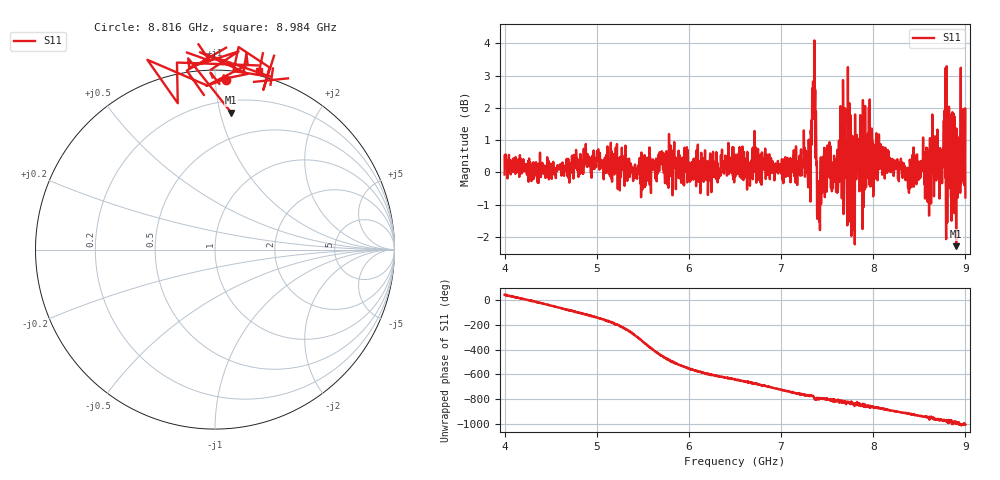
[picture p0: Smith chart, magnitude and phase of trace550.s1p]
! Created with skrf 1.8.0 (http://scikit-rf.org).
# Hz S RI R 50.0
!freq ReS11 ImS11
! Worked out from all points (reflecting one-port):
!   1601 points, 4 GHz to 9 GHz, reference 50 ohm
!   lowest |S11| = -2.3 dB at 8.9 GHz (marker M1), VSWR 7.64, Z = 14.5 + j54.1 ohm
!   phase of S11 starts at 43 deg and turns -1050 deg over the sweep
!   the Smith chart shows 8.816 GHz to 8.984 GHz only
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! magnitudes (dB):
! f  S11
! 4 GHz  -0.1
! 4.625 GHz  0.0
! 5.25 GHz  -0.6
! 5.875 GHz  -0.2
! 6.5 GHz  0.1
! 7.125 GHz  0.2
! 7.294 GHz  -0.5
! 7.347 GHz  2.8
! 7.362 GHz  4.1
! 7.397 GHz  -1.2
! 7.416 GHz  -1.5
! 7.512 GHz  0.8
! 7.616 GHz  -0.6
! 7.669 GHz  0.9
! 7.75 GHz  -0.9
! 7.775 GHz  1.1
! 7.828 GHz  0.7
! 7.909 GHz  0.4
! 7.962 GHz  2.3
! 8.375 GHz  -0.2
! 8.534 GHz  0.1
! 8.603 GHz  -0.7
! 8.656 GHz  1.1
! 8.728 GHz  0.1
! 8.819 GHz  -0.3
! 8.9 GHz  -2.3
! 8.972 GHz  0.5
! 9 GHz  -0.8
